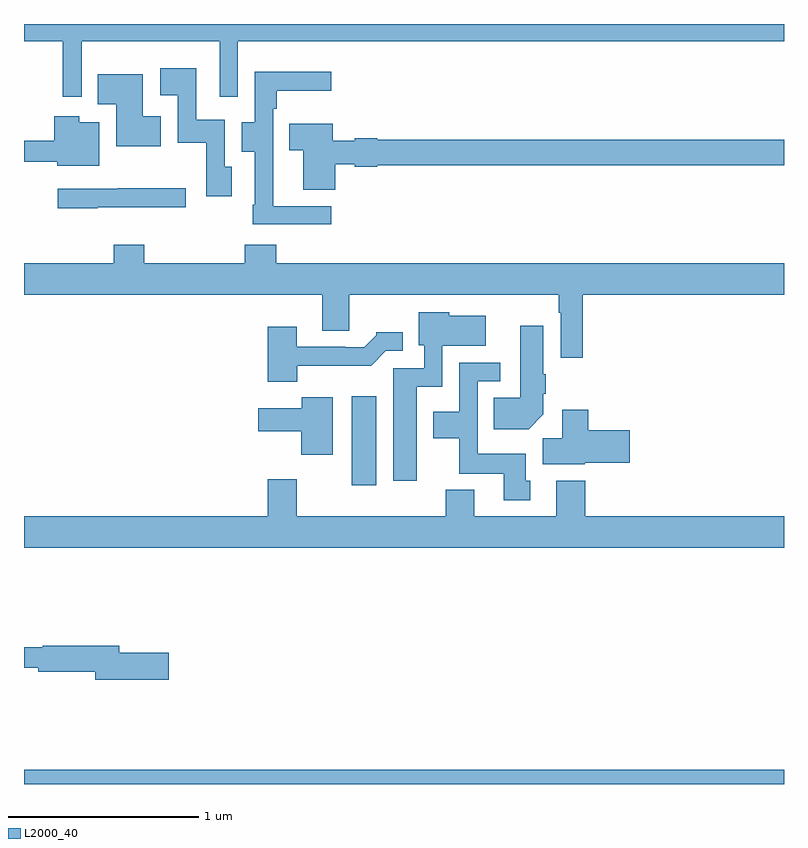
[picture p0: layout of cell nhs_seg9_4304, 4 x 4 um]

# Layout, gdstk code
import gdstk
lib = gdstk.Library(unit=1e-6, precision=1e-09)
def R(c, l, rs):  # rectangles x0, y0, x1, y1
    for r in rs: c.add(gdstk.rectangle(r[:2], r[2:], *l))
def P(c, l, *ps):  # polygons
    for p in ps: c.add(gdstk.Polygon(p, *l))
L2000_40 = (2000, 40)

nhs_seg9_4304 = lib.new_cell('nhs_seg9_4304')
R(nhs_seg9_4304, L2000_40, [(357,1204.5,361,1204.576), (358.724,1206.072,358.855,1206.541)])
P(nhs_seg9_4304, L2000_40, [(357.303,1208.408),(358.029,1208.408),(358.029,1208.118),(358.125,1208.118),(358.125,1208.408),(361,1208.408),(361,1208.5),(357,1208.5),(357,1208.408),(357.205,1208.408),(357.205,1208.118),(357.303,1208.118)],
  [(358.093,1207.749),(358.056,1207.749),(358.056,1207.996),(357.906,1207.996),(357.906,1208.266),(357.717,1208.266),(357.717,1208.126),(357.81,1208.126),(357.81,1207.874),(357.958,1207.874),(357.958,1207.593),(358.093,1207.593)],
  [(358.618,1207.542),(358.312,1207.542),(358.312,1207.739),(358.311,1207.739),(358.311,1208.054),(358.331,1208.054),(358.331,1208.15),(358.618,1208.15),(358.618,1208.248),(358.215,1208.248),(358.215,1207.983),(358.145,1207.983),(358.145,1207.828),(358.215,1207.828),(358.215,1207.549),(358.203,1207.549),(358.203,1207.446),(358.618,1207.446)],
  [(357.721,1208.014),(357.625,1208.014),(357.625,1208.236),(357.388,1208.236),(357.388,1208.078),(357.485,1208.078),(357.485,1207.856),(357.721,1207.856)],
  [(357.397,1207.984),(357.292,1207.984),(357.292,1208.014),(357.158,1208.014),(357.158,1207.885),(357,1207.885),(357,1207.775),(357.174,1207.775),(357.174,1207.754),(357.397,1207.754)],
  [(358.637,1207.763),(358.74,1207.763),(358.74,1207.748),(358.86,1207.748),(358.86,1207.756),(361,1207.756),(361,1207.892),(358.86,1207.892),(358.86,1207.9),(358.74,1207.9),(358.74,1207.885),(358.624,1207.885),(358.624,1207.975),(358.396,1207.975),(358.396,1207.835),(358.469,1207.835),(358.469,1207.627),(358.637,1207.627)],
  [(357.389,1207.535),(357.85,1207.535),(357.85,1207.635),(357.493,1207.635),(357.493,1207.632),(357.177,1207.632),(357.177,1207.531),(357.389,1207.531)],
  [(358.328,1207.339),(358.163,1207.339),(358.163,1207.24),(357.632,1207.24),(357.632,1207.339),(357.472,1207.339),(357.472,1207.24),(357,1207.24),(357,1207.076),(358.571,1207.076),(358.571,1206.886),(358.711,1206.886),(358.711,1207.076),(359.814,1207.076),(359.814,1206.98),(359.826,1206.98),(359.826,1206.744),(359.942,1206.744),(359.942,1207.076),(361,1207.076),(361,1207.24),(358.328,1207.24)],
  [(359.068,1206.59),(359.202,1206.59),(359.202,1206.806),(359.431,1206.806),(359.431,1206.964),(359.238,1206.964),(359.238,1206.982),(359.078,1206.982),(359.078,1206.81),(359.106,1206.81),(359.106,1206.687),(358.943,1206.687),(358.943,1206.096),(359.068,1206.096)],
  [(359.734,1206.446),(359.734,1206.553),(359.747,1206.553),(359.747,1206.656),(359.734,1206.656),(359.734,1206.913),(359.612,1206.913),(359.612,1206.532),(359.473,1206.532),(359.473,1206.368),(359.656,1206.368)],
  [(358.438,1206.702),(358.827,1206.702),(358.905,1206.78),(358.993,1206.78),(358.993,1206.877),(358.854,1206.877),(358.854,1206.862),(358.79,1206.798),(358.691,1206.798),(358.691,1206.801),(358.435,1206.801),(358.435,1206.907),(358.283,1206.907),(358.283,1206.617),(358.438,1206.617)],
  [(359.665,1206.096),(359.641,1206.096),(359.641,1206.238),(359.388,1206.238),(359.388,1206.621),(359.506,1206.621),(359.506,1206.717),(359.292,1206.717),(359.292,1206.46),(359.153,1206.46),(359.153,1206.32),(359.29,1206.32),(359.29,1206.134),(359.525,1206.134),(359.525,1205.994),(359.665,1205.994)],
  [(358.624,1206.535),(358.462,1206.535),(358.462,1206.478),(358.233,1206.478),(358.233,1206.356),(358.46,1206.356),(358.46,1206.234),(358.624,1206.234)],
  [(359.952,1206.191),(360.187,1206.191),(360.187,1206.362),(359.969,1206.362),(359.969,1206.469),(359.834,1206.469),(359.834,1206.32),(359.729,1206.32),(359.729,1206.182),(359.952,1206.182)],
  [(361,1205.908),(359.954,1205.908),(359.954,1206.097),(359.801,1206.097),(359.801,1205.908),(359.371,1205.908),(359.371,1206.049),(359.219,1206.049),(359.219,1205.908),(358.435,1205.908),(358.435,1206.103),(358.283,1206.103),(358.283,1205.908),(357,1205.908),(357,1205.744),(361,1205.744)],
  [(357.763,1205.192),(357.502,1205.192),(357.502,1205.228),(357.098,1205.228),(357.098,1205.221),(357,1205.221),(357,1205.111),(357.076,1205.111),(357.076,1205.092),(357.374,1205.092),(357.374,1205.05),(357.763,1205.05)])

lib.write_gds('nhs_seg9_4304.gds')
